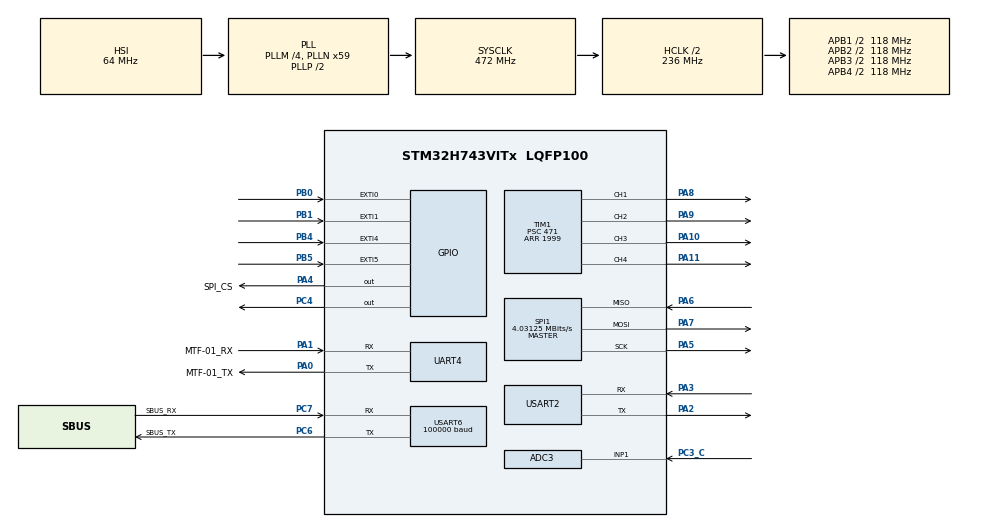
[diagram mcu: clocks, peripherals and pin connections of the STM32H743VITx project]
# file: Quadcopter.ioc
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ADC3.Channel-4\#ChannelRegularConversion=ADC_CHANNEL_1
ADC3.NbrOfConversionFlag=1
ADC3.OffsetNumber-4\#ChannelRegularConversion=ADC_OFFSET_NONE
ADC3.OffsetSignedSaturation-4\#ChannelRegularConversion=DISABLE
ADC3.Rank-4\#ChannelRegularConversion=1
ADC3.SamplingTime-4\#ChannelRegularConversion=ADC_SAMPLETIME_1CYCLE_5
CORTEX_M7.default_mode_Activation=1
Dma.Request0=USART2_TX
Dma.Request1=USART6_RX
Dma.Request2=UART4_RX
Dma.UART4_RX.2.Direction=DMA_PERIPH_TO_MEMORY
Dma.UART4_RX.2.EventEnable=DISABLE
Dma.UART4_RX.2.FIFOMode=DMA_FIFOMODE_DISABLE
Dma.UART4_RX.2.Instance=DMA1_Stream2
Dma.UART4_RX.2.MemDataAlignment=DMA_MDATAALIGN_BYTE
Dma.UART4_RX.2.MemInc=DMA_MINC_ENABLE
Dma.UART4_RX.2.Mode=DMA_CIRCULAR
Dma.UART4_RX.2.PeriphDataAlignment=DMA_PDATAALIGN_BYTE
Dma.UART4_RX.2.PeriphInc=DMA_PINC_DISABLE
Dma.UART4_RX.2.Polarity=HAL_DMAMUX_REQ_GEN_RISING
Dma.UART4_RX.2.Priority=DMA_PRIORITY_HIGH
Dma.UART4_RX.2.RequestNumber=1
Dma.UART4_RX.2.SignalID=NONE
Dma.UART4_RX.2.SyncEnable=DISABLE
Dma.UART4_RX.2.SyncPolarity=HAL_DMAMUX_SYNC_NO_EVENT
Dma.UART4_RX.2.SyncRequestNumber=1
Dma.UART4_RX.2.SyncSignalID=NONE
Dma.USART2_TX.0.Direction=DMA_MEMORY_TO_PERIPH
Dma.USART2_TX.0.EventEnable=DISABLE
Dma.USART2_TX.0.FIFOMode=DMA_FIFOMODE_DISABLE
Dma.USART2_TX.0.Instance=DMA1_Stream0
Dma.USART2_TX.0.MemDataAlignment=DMA_MDATAALIGN_BYTE
Dma.USART2_TX.0.MemInc=DMA_MINC_ENABLE
Dma.USART2_TX.0.Mode=DMA_NORMAL
Dma.USART2_TX.0.PeriphDataAlignment=DMA_PDATAALIGN_BYTE
Dma.USART2_TX.0.PeriphInc=DMA_PINC_DISABLE
Dma.USART2_TX.0.Polarity=HAL_DMAMUX_REQ_GEN_RISING
Dma.USART2_TX.0.Priority=DMA_PRIORITY_MEDIUM
Dma.USART2_TX.0.RequestNumber=1
Dma.USART2_TX.0.SignalID=NONE
Dma.USART2_TX.0.SyncEnable=DISABLE
Dma.USART2_TX.0.SyncPolarity=HAL_DMAMUX_SYNC_NO_EVENT
Dma.USART2_TX.0.SyncRequestNumber=1
Dma.USART2_TX.0.SyncSignalID=NONE
Dma.USART6_RX.1.Direction=DMA_PERIPH_TO_MEMORY
Dma.USART6_RX.1.EventEnable=DISABLE
Dma.USART6_RX.1.FIFOMode=DMA_FIFOMODE_DISABLE
Dma.USART6_RX.1.Instance=DMA1_Stream1
Dma.USART6_RX.1.MemDataAlignment=DMA_MDATAALIGN_BYTE
Dma.USART6_RX.1.MemInc=DMA_MINC_ENABLE
Dma.USART6_RX.1.Mode=DMA_CIRCULAR
Dma.USART6_RX.1.PeriphDataAlignment=DMA_PDATAALIGN_BYTE
Dma.USART6_RX.1.PeriphInc=DMA_PINC_DISABLE
Dma.USART6_RX.1.Polarity=HAL_DMAMUX_REQ_GEN_RISING
Dma.USART6_RX.1.Priority=DMA_PRIORITY_LOW
Dma.USART6_RX.1.RequestNumber=1
Dma.USART6_RX.1.SignalID=NONE
Dma.USART6_RX.1.SyncEnable=DISABLE
Dma.USART6_RX.1.SyncPolarity=HAL_DMAMUX_SYNC_NO_EVENT
Dma.USART6_RX.1.SyncRequestNumber=1
Dma.USART6_RX.1.SyncSignalID=NONE
Mcu.Family=STM32H7
Mcu.Name=STM32H743VITx
Mcu.Package=LQFP100
NVIC.DMA1_Stream0_IRQn=true\:2\:0\:true\:false\:true\:false\:true\:true
NVIC.DMA1_Stream1_IRQn=true\:2\:0\:true\:false\:true\:false\:true\:true
NVIC.DMA1_Stream2_IRQn=true\:0\:0\:false\:false\:true\:false\:true\:true
NVIC.PriorityGroup=NVIC_PRIORITYGROUP_4
NVIC.TIM2_IRQn=true\:0\:0\:false\:false\:true\:true\:true\:true
NVIC.UART4_IRQn=true\:2\:0\:true\:false\:true\:true\:true\:true
NVIC.USART2_IRQn=true\:0\:0\:false\:false\:true\:true\:true\:true
NVIC.USART6_IRQn=true\:2\:0\:true\:false\:true\:true\:true\:true
PA0.GPIO_Label=MTF-01_TX
PA0.Mode=Asynchronous
PA0.Signal=UART4_TX
PA1.GPIO_Label=MTF-01_RX
PA1.Mode=Asynchronous
PA1.Signal=UART4_RX
PA10.Signal=S_TIM1_CH3
PA11.Signal=S_TIM1_CH4
PA2.Mode=Asynchronous
PA2.Signal=USART2_TX
PA3.Mode=Asynchronous
PA3.Signal=USART2_RX
PA4.GPIO_Label=SPI_CS
PA4.Signal=GPIO_Output
PA5.Mode=Full_Duplex_Master
PA5.Signal=SPI1_SCK
PA6.Mode=Full_Duplex_Master
PA6.Signal=SPI1_MISO
PA7.Mode=Full_Duplex_Master
PA7.Signal=SPI1_MOSI
PA8.Signal=S_TIM1_CH1
PA9.Signal=S_TIM1_CH2
PB0.GPIO_ModeDefaultEXTI=GPIO_MODE_IT_RISING_FALLING
PB0.GPIO_PuPd=GPIO_PULLDOWN
PB0.Signal=GPXTI0
PB1.GPIO_ModeDefaultEXTI=GPIO_MODE_IT_RISING_FALLING
PB1.GPIO_PuPd=GPIO_PULLDOWN
PB1.Signal=GPXTI1
PB4\ (NJTRST).GPIO_ModeDefaultEXTI=GPIO_MODE_IT_RISING_FALLING
PB4\ (NJTRST).GPIO_PuPd=GPIO_PULLDOWN
PB4\ (NJTRST).Signal=GPXTI4
PB5.GPIO_ModeDefaultEXTI=GPIO_MODE_IT_RISING_FALLING
PB5.GPIO_PuPd=GPIO_PULLDOWN
PB5.Signal=GPXTI5
PC3_C.Mode=IN1-Single-Ended
PC3_C.Signal=ADC3_INP1
PC4.Signal=GPIO_Output
PC6.GPIO_Label=SBUS_TX
PC6.Mode=Asynchronous
PC6.Signal=USART6_TX
PC7.GPIO_Label=SBUS_RX
PC7.Mode=Asynchronous
PC7.Signal=USART6_RX
ProjectManager.HeapSize=0x200
ProjectManager.StackSize=0x400
ProjectManager.TargetToolchain=STM32CubeIDE
RCC.ADCCLockSelection=RCC_ADCCLKSOURCE_CLKP
RCC.ADCFreq_Value=64000000
RCC.APB1Freq_Value=118000000
RCC.APB2Freq_Value=118000000
RCC.APB3Freq_Value=118000000
RCC.APB4Freq_Value=118000000
RCC.CortexFreq_Value=472000000
RCC.D1PPRE=RCC_APB3_DIV2
RCC.D2PPRE1=RCC_APB1_DIV2
RCC.D2PPRE2=RCC_APB2_DIV2
RCC.D3PPRE=RCC_APB4_DIV2
RCC.DIVM1=4
RCC.DIVN1=59
RCC.HCLKFreq_Value=236000000
RCC.HPRE=RCC_HCLK_DIV2
RCC.PLL2FRACN=0
RCC.PLLFRACN=0
RCC.SDMMC1CLockSelection=RCC_SDMMCCLKSOURCE_PLL2
RCC.SPI123CLockSelection=RCC_SPI123CLKSOURCE_PLL2
RCC.SYSCLKFreq_VALUE=472000000
RCC.SYSCLKSource=RCC_SYSCLKSOURCE_PLLCLK
RCC.USBFreq_Value=472000000
SH.S_TIM1_CH1.0=TIM1_CH1,PWM Generation1 CH1
SH.S_TIM1_CH2.0=TIM1_CH2,PWM Generation2 CH2
SH.S_TIM1_CH3.0=TIM1_CH3,PWM Generation3 CH3
SH.S_TIM1_CH4.0=TIM1_CH4,PWM Generation4 CH4
SPI1.BaudRatePrescaler=SPI_BAUDRATEPRESCALER_32
SPI1.CLKPhase=SPI_PHASE_2EDGE
SPI1.CLKPolarity=SPI_POLARITY_HIGH
SPI1.CalculateBaudRate=4.03125 MBits/s
SPI1.DataSize=SPI_DATASIZE_8BIT
SPI1.Direction=SPI_DIRECTION_2LINES
SPI1.Mode=SPI_MODE_MASTER
SPI1.VirtualType=VM_MASTER
TIM1.Channel-PWM\ Generation1\ CH1=TIM_CHANNEL_1
TIM1.Channel-PWM\ Generation2\ CH2=TIM_CHANNEL_2
TIM1.Channel-PWM\ Generation3\ CH3=TIM_CHANNEL_3
TIM1.Channel-PWM\ Generation4\ CH4=TIM_CHANNEL_4
TIM1.Period=1999
TIM1.Prescaler=471
TIM2.Period=24
TIM2.Prescaler=2359
UART4.StopBits=UART_STOPBITS_1
USART2.VirtualMode-Asynchronous=VM_ASYNC
USART6.BaudRate=100000
USART6.Parity=PARITY_EVEN
USART6.RxPinLevelInvertParam=ADVFEATURE_RXINV_ENABLE
USART6.StopBits=STOPBITS_2
USART6.VirtualMode=VM_ASYNC
USART6.WordLength=WORDLENGTH_9B
VP_MEMORYMAP_VS_MEMORYMAP.Mode=CurAppReg
VP_TIM1_VS_ClockSourceINT.Mode=Internal
VP_TIM2_VS_ClockSourceINT.Mode=Internal
board=custom

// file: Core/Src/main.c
/* USER CODE BEGIN Header */
/**
  ******************************************************************************
  * @file           : main.c
  * @brief          : Main program body
  ******************************************************************************
  * @attention
  *
  * Copyright (c) 2024 STMicroelectronics.
  * All rights reserved.
  *
  * This software is licensed under terms that can be found in the LICENSE file
  * in the root directory of this software component.
  * If no LICENSE file comes with this software, it is provided AS-IS.
  *
  ******************************************************************************
  */
/* USER CODE END Header */
#include "main.h"

/* USER CODE BEGIN Includes */
#include "config.h"
#include "Radio/sbusWrapperC.h"
#include "Sensors/mtf01WrapperC.h"
/* USER CODE END Includes */

ADC_HandleTypeDef hadc3;

SPI_HandleTypeDef hspi1;

TIM_HandleTypeDef htim1;
TIM_HandleTypeDef htim2;

UART_HandleTypeDef huart4;
UART_HandleTypeDef huart2;
UART_HandleTypeDef huart6;
DMA_HandleTypeDef hdma_uart4_rx;
DMA_HandleTypeDef hdma_usart2_tx;
DMA_HandleTypeDef hdma_usart6_rx;

/* USER CODE BEGIN PV */

extern uint8_t sbusBuf[];
extern uint8_t mtf01Buf[];

volatile uint8_t rxByteMtf01 = 0;

/* USER CODE END PV */

void SystemClock_Config(void);
void PeriphCommonClock_Config(void);
static void MPU_Config(void);
static void MX_GPIO_Init(void);
static void MX_DMA_Init(void);
static void MX_SPI1_Init(void);
static void MX_USART2_UART_Init(void);
static void MX_TIM1_Init(void);
static void MX_TIM2_Init(void);
static void MX_USART6_UART_Init(void);
static void MX_ADC3_Init(void);
static void MX_UART4_Init(void);
/* USER CODE BEGIN PFP */
extern void interfaceMain();
/* USER CODE END PFP */

int main(void)
{

  /* MPU Configuration--------------------------------------------------------*/
  MPU_Config();

  /* MCU Configuration--------------------------------------------------------*/

  /* Reset of all peripherals, Initializes the Flash interface and the Systick. */
  HAL_Init();

  /* Configure the system clock */
  SystemClock_Config();

  /* Configure the peripherals common clocks */
  PeriphCommonClock_Config();

  /* Initialize all configured peripherals */
  MX_GPIO_Init();
  MX_DMA_Init();
  MX_SPI1_Init();
  MX_USART2_UART_Init();
  MX_TIM1_Init();
  MX_TIM2_Init();
  MX_USART6_UART_Init();
  MX_ADC3_Init();
  MX_UART4_Init();
  /* USER CODE BEGIN 2 */

#if !RADIO_SOURCE_SPI
	// Clear any pending IDLE flag
	__HAL_UART_CLEAR_IDLEFLAG(&huart6);
	// Kick off the circular DMA transfer into the 25-byte buffer
	HAL_UART_Receive_DMA(&huart6, sbusBuf, SBUS_FRAME_SIZE);
	// Enable the UART IDLE interrupt so we know when a full frame has arrived
	__HAL_UART_ENABLE_IT(&huart6, UART_IT_IDLE);
#endif

	// Clear any pending IDLE flag
	__HAL_UART_CLEAR_IDLEFLAG(&huart4);
	// Kick off the circular DMA transfer into the buffer
	HAL_UART_Receive_DMA(&huart4, mtf01Buf, MTF01_FRAME_SIZE);
	// Enable the UART IDLE interrupt so we know when a full frame has arrived
	__HAL_UART_ENABLE_IT(&huart4, UART_IT_IDLE);

  // Start timer 2
  HAL_TIM_Base_Start_IT(&htim2);

  // Init PWMs
  HAL_TIM_PWM_Start(&htim1, TIM_CHANNEL_1);
  HAL_TIM_PWM_Start(&htim1, TIM_CHANNEL_2);
  HAL_TIM_PWM_Start(&htim1, TIM_CHANNEL_3);
  HAL_TIM_PWM_Start(&htim1, TIM_CHANNEL_4);

  // Main loop here
  interfaceMain();

  /* USER CODE END 2 */

  /* Infinite loop */
  while (1)
  {

  }
}

void SystemClock_Config(void)
{
  RCC_OscInitTypeDef RCC_OscInitStruct = {0};
  RCC_ClkInitTypeDef RCC_ClkInitStruct = {0};

  /** Supply configuration update enable
  */
  HAL_PWREx_ConfigSupply(PWR_LDO_SUPPLY);

  /** Configure the main internal regulator output voltage
  */
  __HAL_PWR_VOLTAGESCALING_CONFIG(PWR_REGULATOR_VOLTAGE_SCALE0);

  while(!__HAL_PWR_GET_FLAG(PWR_FLAG_VOSRDY)) {}

  /** Initializes the RCC Oscillators according to the specified parameters
  * in the RCC_OscInitTypeDef structure.
  */
  RCC_OscInitStruct.OscillatorType = RCC_OSCILLATORTYPE_HSI;
  RCC_OscInitStruct.HSIState = RCC_HSI_DIV1;
  RCC_OscInitStruct.HSICalibrationValue = RCC_HSICALIBRATION_DEFAULT;
  RCC_OscInitStruct.PLL.PLLState = RCC_PLL_ON;
  RCC_OscInitStruct.PLL.PLLSource = RCC_PLLSOURCE_HSI;
  RCC_OscInitStruct.PLL.PLLM = 4;
  RCC_OscInitStruct.PLL.PLLN = 59;
  RCC_OscInitStruct.PLL.PLLP = 2;
  RCC_OscInitStruct.PLL.PLLQ = 2;
  RCC_OscInitStruct.PLL.PLLR = 2;
  RCC_OscInitStruct.PLL.PLLRGE = RCC_PLL1VCIRANGE_3;
  RCC_OscInitStruct.PLL.PLLVCOSEL = RCC_PLL1VCOWIDE;
  RCC_OscInitStruct.PLL.PLLFRACN = 0;
  if (HAL_RCC_OscConfig(&RCC_OscInitStruct) != HAL_OK)
  {
    Error_Handler();
  }

  /** Initializes the CPU, AHB and APB buses clocks
  */
  RCC_ClkInitStruct.ClockType = RCC_CLOCKTYPE_HCLK|RCC_CLOCKTYPE_SYSCLK
                              |RCC_CLOCKTYPE_PCLK1|RCC_CLOCKTYPE_PCLK2
                              |RCC_CLOCKTYPE_D3PCLK1|RCC_CLOCKTYPE_D1PCLK1;
  RCC_ClkInitStruct.SYSCLKSource = RCC_SYSCLKSOURCE_PLLCLK;
  RCC_ClkInitStruct.SYSCLKDivider = RCC_SYSCLK_DIV1;
  RCC_ClkInitStruct.AHBCLKDivider = RCC_HCLK_DIV2;
  RCC_ClkInitStruct.APB3CLKDivider = RCC_APB3_DIV2;
  RCC_ClkInitStruct.APB1CLKDivider = RCC_APB1_DIV2;
  RCC_ClkInitStruct.APB2CLKDivider = RCC_APB2_DIV2;
  RCC_ClkInitStruct.APB4CLKDivider = RCC_APB4_DIV2;

  if (HAL_RCC_ClockConfig(&RCC_ClkInitStruct, FLASH_LATENCY_4) != HAL_OK)
  {
    Error_Handler();
  }
}

void PeriphCommonClock_Config(void)
{
  RCC_PeriphCLKInitTypeDef PeriphClkInitStruct = {0};

  /** Initializes the peripherals clock
  */
  PeriphClkInitStruct.PeriphClockSelection = RCC_PERIPHCLK_CKPER;
  PeriphClkInitStruct.CkperClockSelection = RCC_CLKPSOURCE_HSI;
  if (HAL_RCCEx_PeriphCLKConfig(&PeriphClkInitStruct) != HAL_OK)
  {
    Error_Handler();
  }
}

static void MX_ADC3_Init(void)
{

  ADC_ChannelConfTypeDef sConfig = {0};

  /** Common config
  */
  hadc3.Instance = ADC3;
  hadc3.Init.ClockPrescaler = ADC_CLOCK_ASYNC_DIV1;
  hadc3.Init.ScanConvMode = ADC_SCAN_DISABLE;
  hadc3.Init.EOCSelection = ADC_EOC_SINGLE_CONV;
  hadc3.Init.LowPowerAutoWait = DISABLE;
  hadc3.Init.ContinuousConvMode = DISABLE;
  hadc3.Init.NbrOfConversion = 1;
  hadc3.Init.DiscontinuousConvMode = DISABLE;
  hadc3.Init.ExternalTrigConv = ADC_SOFTWARE_START;
  hadc3.Init.ExternalTrigConvEdge = ADC_EXTERNALTRIGCONVEDGE_NONE;
  hadc3.Init.ConversionDataManagement = ADC_CONVERSIONDATA_DR;
  hadc3.Init.Overrun = ADC_OVR_DATA_PRESERVED;
  hadc3.Init.LeftBitShift = ADC_LEFTBITSHIFT_NONE;
  hadc3.Init.OversamplingMode = DISABLE;
  hadc3.Init.Oversampling.Ratio = 1;
  if (HAL_ADC_Init(&hadc3) != HAL_OK)
  {
    Error_Handler();
  }

  /** Configure Regular Channel
  */
  sConfig.Channel = ADC_CHANNEL_1;
  sConfig.Rank = ADC_REGULAR_RANK_1;
  sConfig.SamplingTime = ADC_SAMPLETIME_1CYCLE_5;
  sConfig.SingleDiff = ADC_SINGLE_ENDED;
  sConfig.OffsetNumber = ADC_OFFSET_NONE;
  sConfig.Offset = 0;
  sConfig.OffsetSignedSaturation = DISABLE;
  if (HAL_ADC_ConfigChannel(&hadc3, &sConfig) != HAL_OK)
  {
    Error_Handler();
  }

}

static void MX_SPI1_Init(void)
{

  /* SPI1 parameter configuration*/
  hspi1.Instance = SPI1;
  hspi1.Init.Mode = SPI_MODE_MASTER;
  hspi1.Init.Direction = SPI_DIRECTION_2LINES;
  hspi1.Init.DataSize = SPI_DATASIZE_8BIT;
  hspi1.Init.CLKPolarity = SPI_POLARITY_HIGH;
  hspi1.Init.CLKPhase = SPI_PHASE_2EDGE;
  hspi1.Init.NSS = SPI_NSS_SOFT;
  hspi1.Init.BaudRatePrescaler = SPI_BAUDRATEPRESCALER_32;
  hspi1.Init.FirstBit = SPI_FIRSTBIT_MSB;
  hspi1.Init.TIMode = SPI_TIMODE_DISABLE;
  hspi1.Init.CRCCalculation = SPI_CRCCALCULATION_DISABLE;
  hspi1.Init.CRCPolynomial = 0x0;
  hspi1.Init.NSSPMode = SPI_NSS_PULSE_ENABLE;
  hspi1.Init.NSSPolarity = SPI_NSS_POLARITY_LOW;
  hspi1.Init.FifoThreshold = SPI_FIFO_THRESHOLD_01DATA;
  hspi1.Init.TxCRCInitializationPattern = SPI_CRC_INITIALIZATION_ALL_ZERO_PATTERN;
  hspi1.Init.RxCRCInitializationPattern = SPI_CRC_INITIALIZATION_ALL_ZERO_PATTERN;
  hspi1.Init.MasterSSIdleness = SPI_MASTER_SS_IDLENESS_00CYCLE;
  hspi1.Init.MasterInterDataIdleness = SPI_MASTER_INTERDATA_IDLENESS_00CYCLE;
  hspi1.Init.MasterReceiverAutoSusp = SPI_MASTER_RX_AUTOSUSP_DISABLE;
  hspi1.Init.MasterKeepIOState = SPI_MASTER_KEEP_IO_STATE_DISABLE;
  hspi1.Init.IOSwap = SPI_IO_SWAP_DISABLE;
  if (HAL_SPI_Init(&hspi1) != HAL_OK)
  {
    Error_Handler();
  }

}

static void MX_TIM1_Init(void)
{

  TIM_ClockConfigTypeDef sClockSourceConfig = {0};
  TIM_MasterConfigTypeDef sMasterConfig = {0};
  TIM_OC_InitTypeDef sConfigOC = {0};
  TIM_BreakDeadTimeConfigTypeDef sBreakDeadTimeConfig = {0};

  htim1.Instance = TIM1;
  htim1.Init.Prescaler = 471;
  htim1.Init.CounterMode = TIM_COUNTERMODE_UP;
  htim1.Init.Period = 1999;
  htim1.Init.ClockDivision = TIM_CLOCKDIVISION_DIV1;
  htim1.Init.RepetitionCounter = 0;
  htim1.Init.AutoReloadPreload = TIM_AUTORELOAD_PRELOAD_DISABLE;
  if (HAL_TIM_Base_Init(&htim1) != HAL_OK)
  {
    Error_Handler();
  }
  sClockSourceConfig.ClockSource = TIM_CLOCKSOURCE_INTERNAL;
  if (HAL_TIM_ConfigClockSource(&htim1, &sClockSourceConfig) != HAL_OK)
  {
    Error_Handler();
  }
  if (HAL_TIM_PWM_Init(&htim1) != HAL_OK)
  {
    Error_Handler();
  }
  sMasterConfig.MasterOutputTrigger = TIM_TRGO_RESET;
  sMasterConfig.MasterOutputTrigger2 = TIM_TRGO2_RESET;
  sMasterConfig.MasterSlaveMode = TIM_MASTERSLAVEMODE_DISABLE;
  if (HAL_TIMEx_MasterConfigSynchronization(&htim1, &sMasterConfig) != HAL_OK)
  {
    Error_Handler();
  }
  sConfigOC.OCMode = TIM_OCMODE_PWM1;
  sConfigOC.Pulse = 0;
  sConfigOC.OCPolarity = TIM_OCPOLARITY_HIGH;
  sConfigOC.OCNPolarity = TIM_OCNPOLARITY_HIGH;
  sConfigOC.OCFastMode = TIM_OCFAST_DISABLE;
  sConfigOC.OCIdleState = TIM_OCIDLESTATE_RESET;
  sConfigOC.OCNIdleState = TIM_OCNIDLESTATE_RESET;
  if (HAL_TIM_PWM_ConfigChannel(&htim1, &sConfigOC, TIM_CHANNEL_1) != HAL_OK)
  {
    Error_Handler();
  }
  if (HAL_TIM_PWM_ConfigChannel(&htim1, &sConfigOC, TIM_CHANNEL_2) != HAL_OK)
  {
    Error_Handler();
  }
  if (HAL_TIM_PWM_ConfigChannel(&htim1, &sConfigOC, TIM_CHANNEL_3) != HAL_OK)
  {
    Error_Handler();
  }
  if (HAL_TIM_PWM_ConfigChannel(&htim1, &sConfigOC, TIM_CHANNEL_4) != HAL_OK)
  {
    Error_Handler();
  }
  sBreakDeadTimeConfig.OffStateRunMode = TIM_OSSR_DISABLE;
  sBreakDeadTimeConfig.OffStateIDLEMode = TIM_OSSI_DISABLE;
  sBreakDeadTimeConfig.LockLevel = TIM_LOCKLEVEL_OFF;
  sBreakDeadTimeConfig.DeadTime = 0;
  sBreakDeadTimeConfig.BreakState = TIM_BREAK_DISABLE;
  sBreakDeadTimeConfig.BreakPolarity = TIM_BREAKPOLARITY_HIGH;
  sBreakDeadTimeConfig.BreakFilter = 0;
  sBreakDeadTimeConfig.Break2State = TIM_BREAK2_DISABLE;
  sBreakDeadTimeConfig.Break2Polarity = TIM_BREAK2POLARITY_HIGH;
  sBreakDeadTimeConfig.Break2Filter = 0;
  sBreakDeadTimeConfig.AutomaticOutput = TIM_AUTOMATICOUTPUT_DISABLE;
  if (HAL_TIMEx_ConfigBreakDeadTime(&htim1, &sBreakDeadTimeConfig) != HAL_OK)
  {
    Error_Handler();
  }
  /* USER CODE BEGIN TIM1_Init 2 */

  //htim1.Init.Prescaler = (SystemCoreClock / 1000000) - 1;
  //htim1.Init.Period = 2000 - 1;

  /* USER CODE END TIM1_Init 2 */
  HAL_TIM_MspPostInit(&htim1);

}

static void MX_TIM2_Init(void)
{

  TIM_ClockConfigTypeDef sClockSourceConfig = {0};
  TIM_MasterConfigTypeDef sMasterConfig = {0};

  htim2.Instance = TIM2;
  htim2.Init.Prescaler = 2359;
  htim2.Init.CounterMode = TIM_COUNTERMODE_UP;
  htim2.Init.Period = 24;
  htim2.Init.ClockDivision = TIM_CLOCKDIVISION_DIV1;
  htim2.Init.AutoReloadPreload = TIM_AUTORELOAD_PRELOAD_DISABLE;
  if (HAL_TIM_Base_Init(&htim2) != HAL_OK)
  {
    Error_Handler();
  }
  sClockSourceConfig.ClockSource = TIM_CLOCKSOURCE_INTERNAL;
  if (HAL_TIM_ConfigClockSource(&htim2, &sClockSourceConfig) != HAL_OK)
  {
    Error_Handler();
  }
  sMasterConfig.MasterOutputTrigger = TIM_TRGO_RESET;
  sMasterConfig.MasterSlaveMode = TIM_MASTERSLAVEMODE_DISABLE;
  if (HAL_TIMEx_MasterConfigSynchronization(&htim2, &sMasterConfig) != HAL_OK)
  {
    Error_Handler();
  }

}

static void MX_UART4_Init(void)
{

  huart4.Instance = UART4;
  huart4.Init.BaudRate = 115200;
  huart4.Init.WordLength = UART_WORDLENGTH_8B;
  huart4.Init.StopBits = UART_STOPBITS_1;
  huart4.Init.Parity = UART_PARITY_NONE;
  huart4.Init.Mode = UART_MODE_TX_RX;
  huart4.Init.HwFlowCtl = UART_HWCONTROL_NONE;
  huart4.Init.OverSampling = UART_OVERSAMPLING_16;
  huart4.Init.OneBitSampling = UART_ONE_BIT_SAMPLE_DISABLE;
  huart4.Init.ClockPrescaler = UART_PRESCALER_DIV1;
  huart4.AdvancedInit.AdvFeatureInit = UART_ADVFEATURE_NO_INIT;
  if (HAL_UART_Init(&huart4) != HAL_OK)
  {
    Error_Handler();
  }
  if (HAL_UARTEx_SetTxFifoThreshold(&huart4, UART_TXFIFO_THRESHOLD_1_8) != HAL_OK)
  {
    Error_Handler();
  }
  if (HAL_UARTEx_SetRxFifoThreshold(&huart4, UART_RXFIFO_THRESHOLD_1_8) != HAL_OK)
  {
    Error_Handler();
  }
  if (HAL_UARTEx_DisableFifoMode(&huart4) != HAL_OK)
  {
    Error_Handler();
  }
  /* USER CODE BEGIN UART4_Init 2 */
  HAL_NVIC_SetPriority(UART4_IRQn, 2, 0);
  HAL_NVIC_EnableIRQ(UART4_IRQn);
  /* USER CODE END UART4_Init 2 */

}

static void MX_USART2_UART_Init(void)
{

  huart2.Instance = USART2;
  huart2.Init.BaudRate = 115200;
  huart2.Init.WordLength = UART_WORDLENGTH_8B;
  huart2.Init.StopBits = UART_STOPBITS_1;
  huart2.Init.Parity = UART_PARITY_NONE;
  huart2.Init.Mode = UART_MODE_TX_RX;
  huart2.Init.HwFlowCtl = UART_HWCONTROL_NONE;
  huart2.Init.OverSampling = UART_OVERSAMPLING_16;
  huart2.Init.OneBitSampling = UART_ONE_BIT_SAMPLE_DISABLE;
  huart2.Init.ClockPrescaler = UART_PRESCALER_DIV1;
  huart2.AdvancedInit.AdvFeatureInit = UART_ADVFEATURE_NO_INIT;
  if (HAL_UART_Init(&huart2) != HAL_OK)
  {
    Error_Handler();
  }
  if (HAL_UARTEx_SetTxFifoThreshold(&huart2, UART_TXFIFO_THRESHOLD_1_8) != HAL_OK)
  {
    Error_Handler();
  }
  if (HAL_UARTEx_SetRxFifoThreshold(&huart2, UART_RXFIFO_THRESHOLD_1_8) != HAL_OK)
  {
    Error_Handler();
  }
  if (HAL_UARTEx_DisableFifoMode(&huart2) != HAL_OK)
  {
    Error_Handler();
  }

}

static void MX_USART6_UART_Init(void)
{

  huart6.Instance = USART6;
  huart6.Init.BaudRate = 100000;
  huart6.Init.WordLength = UART_WORDLENGTH_9B;
  huart6.Init.StopBits = UART_STOPBITS_2;
  huart6.Init.Parity = UART_PARITY_EVEN;
  huart6.Init.Mode = UART_MODE_TX_RX;
  huart6.Init.HwFlowCtl = UART_HWCONTROL_NONE;
  huart6.Init.OverSampling = UART_OVERSAMPLING_16;
  huart6.Init.OneBitSampling = UART_ONE_BIT_SAMPLE_DISABLE;
  huart6.Init.ClockPrescaler = UART_PRESCALER_DIV1;
  huart6.AdvancedInit.AdvFeatureInit = UART_ADVFEATURE_RXINVERT_INIT;
  huart6.AdvancedInit.RxPinLevelInvert = UART_ADVFEATURE_RXINV_ENABLE;
  if (HAL_UART_Init(&huart6) != HAL_OK)
  {
    Error_Handler();
  }
  if (HAL_UARTEx_SetTxFifoThreshold(&huart6, UART_TXFIFO_THRESHOLD_1_8) != HAL_OK)
  {
    Error_Handler();
  }
  if (HAL_UARTEx_SetRxFifoThreshold(&huart6, UART_RXFIFO_THRESHOLD_1_8) != HAL_OK)
  {
    Error_Handler();
  }
  if (HAL_UARTEx_DisableFifoMode(&huart6) != HAL_OK)
  {
    Error_Handler();
  }

}

static void MX_DMA_Init(void)
{

  /* DMA controller clock enable */
  __HAL_RCC_DMA1_CLK_ENABLE();

  /* DMA interrupt init */
  /* DMA1_Stream0_IRQn interrupt configuration */
  HAL_NVIC_SetPriority(DMA1_Stream0_IRQn, 2, 0);
  HAL_NVIC_EnableIRQ(DMA1_Stream0_IRQn);
  /* DMA1_Stream1_IRQn interrupt configuration */
  HAL_NVIC_SetPriority(DMA1_Stream1_IRQn, 2, 0);
  HAL_NVIC_EnableIRQ(DMA1_Stream1_IRQn);
  /* DMA1_Stream2_IRQn interrupt configuration */
  HAL_NVIC_SetPriority(DMA1_Stream2_IRQn, 0, 0);
  HAL_NVIC_EnableIRQ(DMA1_Stream2_IRQn);

}

static void MX_GPIO_Init(void)
{
  GPIO_InitTypeDef GPIO_InitStruct = {0};

  /* GPIO Ports Clock Enable */
  __HAL_RCC_GPIOC_CLK_ENABLE();
  __HAL_RCC_GPIOA_CLK_ENABLE();
  __HAL_RCC_GPIOB_CLK_ENABLE();

  /*Configure GPIO pin Output Level */
  HAL_GPIO_WritePin(SPI_CS_GPIO_Port, SPI_CS_Pin, GPIO_PIN_RESET);

  /*Configure GPIO pin Output Level */
  HAL_GPIO_WritePin(GPIOC, GPIO_PIN_4, GPIO_PIN_RESET);

  /*Configure GPIO pin : SPI_CS_Pin */
  GPIO_InitStruct.Pin = SPI_CS_Pin;
  GPIO_InitStruct.Mode = GPIO_MODE_OUTPUT_PP;
  GPIO_InitStruct.Pull = GPIO_NOPULL;
  GPIO_InitStruct.Speed = GPIO_SPEED_FREQ_LOW;
  HAL_GPIO_Init(SPI_CS_GPIO_Port, &GPIO_InitStruct);

  /*Configure GPIO pin : PC4 */
  GPIO_InitStruct.Pin = GPIO_PIN_4;
  GPIO_InitStruct.Mode = GPIO_MODE_OUTPUT_PP;
  GPIO_InitStruct.Pull = GPIO_NOPULL;
  GPIO_InitStruct.Speed = GPIO_SPEED_FREQ_LOW;
  HAL_GPIO_Init(GPIOC, &GPIO_InitStruct);

  /*Configure GPIO pins : PB0 PB1 PB4 PB5 */
  GPIO_InitStruct.Pin = GPIO_PIN_0|GPIO_PIN_1|GPIO_PIN_4|GPIO_PIN_5;
  GPIO_InitStruct.Mode = GPIO_MODE_IT_RISING_FALLING;
  GPIO_InitStruct.Pull = GPIO_PULLDOWN;
  HAL_GPIO_Init(GPIOB, &GPIO_InitStruct);

}

 /* MPU Configuration */

void MPU_Config(void)
{
  MPU_Region_InitTypeDef MPU_InitStruct = {0};

  /* Disables the MPU */
  HAL_MPU_Disable();

  /** Initializes and configures the Region and the memory to be protected
  */
  MPU_InitStruct.Enable = MPU_REGION_ENABLE;
  MPU_InitStruct.Number = MPU_REGION_NUMBER0;
  MPU_InitStruct.BaseAddress = 0x0;
  MPU_InitStruct.Size = MPU_REGION_SIZE_4GB;
  MPU_InitStruct.SubRegionDisable = 0x87;
  MPU_InitStruct.TypeExtField = MPU_TEX_LEVEL0;
  MPU_InitStruct.AccessPermission = MPU_REGION_NO_ACCESS;
  MPU_InitStruct.DisableExec = MPU_INSTRUCTION_ACCESS_DISABLE;
  MPU_InitStruct.IsShareable = MPU_ACCESS_SHAREABLE;
  MPU_InitStruct.IsCacheable = MPU_ACCESS_NOT_CACHEABLE;
  MPU_InitStruct.IsBufferable = MPU_ACCESS_NOT_BUFFERABLE;

  HAL_MPU_ConfigRegion(&MPU_InitStruct);
  /* Enables the MPU */
  HAL_MPU_Enable(MPU_PRIVILEGED_DEFAULT);

}

void Error_Handler(void)
{
  __disable_irq();
  while (1)
  {
  }
}
